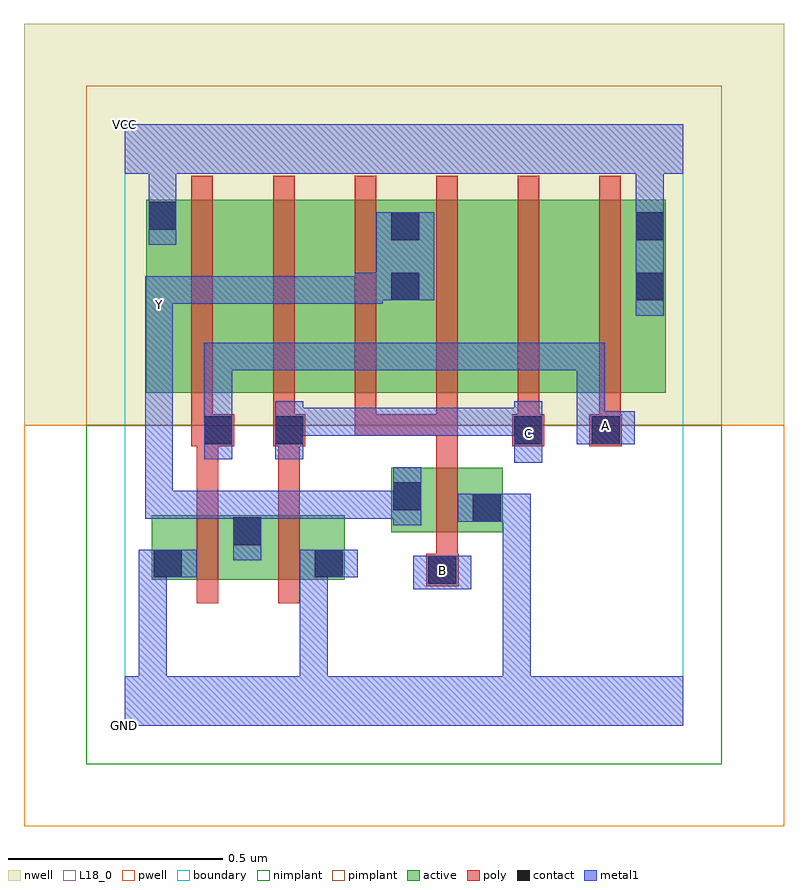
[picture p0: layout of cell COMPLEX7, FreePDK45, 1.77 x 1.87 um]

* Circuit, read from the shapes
.subckt COMPLEX7 A B C GND VCC Y
M1 Y A GND VSUBS nfet w=0.15u l=0.05u
M2 GND C Y VSUBS nfet w=0.15u l=0.05u
M3 GND B Y VSUBS nfet w=0.15u l=0.05u
M4 n1 A VCC n2 pfet w=0.45u l=0.05u
M5 n3 C n1 n2 pfet w=0.45u l=0.05u
M6 Y B n3 n2 pfet w=0.45u l=0.05u
M7 n4 B Y n2 pfet w=0.45u l=0.05u
M8 n5 C n4 n2 pfet w=0.45u l=0.05u
M9 VCC A n5 n2 pfet w=0.45u l=0.05u
.ends

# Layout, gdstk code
import gdstk
lib = gdstk.Library(unit=1e-6, precision=1e-09)
def R(c, l, rs):  # rectangles x0, y0, x1, y1
    for r in rs: c.add(gdstk.rectangle(r[:2], r[2:], *l))
def A(c, l, x, y, w, h, nx, ny, dx, dy):  # array of equal rectangles
    R(c, l, [(x+i*dx, y+j*dy, x+i*dx+w, y+j*dy+h) for i in range(nx) for j in range(ny)])
active = (1, 0)
pwell = (2, 0)
nwell = (3, 0)
nimplant = (4, 0)
pimplant = (5, 0)
poly = (9, 0)
contact = (10, 0)
metal1 = (11, 0)
L18_0 = (18, 0)
boundary = (235, 0)

complex7 = lib.new_cell('COMPLEX7')
R(complex7, active, [(0.062,0.34,0.137,0.49), (0.062,0.34,0.322,0.49), (0.247,0.34,0.512,0.49), (0.437,0.34,0.512,0.49), (0.247,0.415,0.322,0.49), (0.62,0.45,0.88,0.6), (0.805,0.45,0.88,0.6), (0.62,0.495,0.695,0.6), (0.05,0.775,0.275,1.225), (0.05,0.775,0.125,1.225), (0.275,0.775,0.465,1.225), (0.465,0.775,0.69,1.225), (0.615,0.775,0.845,1.225), (0.845,0.775,1.035,1.225), (1.035,0.775,1.26,1.225), (1.185,0.775,1.26,1.205), (0.615,0.857,0.69,1.2)])
R(complex7, pwell, [(-0.235,-0.235,1.535,0.7)])
R(complex7, nwell, [(-0.235,0.7,1.535,1.635)])
R(complex7, nimplant, [(-0.09,-0.09,1.39,0.7)])
R(complex7, pimplant, [(-0.09,0.7,1.39,1.49)])
A(complex7, poly, 0.155, 0.675, 0.05, 0.095, 6, 1, 0.19, 0)
A(complex7, poly, 0.155, 0.72, 0.05, 0.56, 6, 1, 0.19, 0)
R(complex7, poly, [(0.167,0.285,0.217,0.545), (0.357,0.285,0.407,0.545), (0.702,0.325,0.777,0.4), (0.725,0.35,0.775,0.445), (0.725,0.395,0.775,0.655), (0.167,0.495,0.217,0.7), (0.357,0.495,0.407,0.7), (0.725,0.605,0.775,0.725), (0.155,0.65,0.255,0.725), (0.345,0.65,0.42,0.725), (0.902,0.65,0.977,0.725), (1.082,0.65,1.157,0.725), (0.535,0.675,0.775,0.725), (0.535,0.675,0.585,0.725), (0.535,0.675,0.585,0.725), (0.535,0.675,0.585,0.725), (0.725,0.675,0.775,0.725)])
R(complex7, contact, [(0.707,0.33,0.772,0.395), (0.067,0.345,0.132,0.41), (0.442,0.345,0.507,0.41), (0.252,0.42,0.317,0.485), (0.81,0.475,0.875,0.54), (0.625,0.502,0.69,0.567), (0.185,0.655,0.25,0.72), (0.35,0.655,0.415,0.72), (0.907,0.655,0.972,0.72), (1.087,0.655,1.152,0.72), (0.62,0.99,0.685,1.055), (1.19,0.99,1.255,1.055), (0.62,1.13,0.685,1.195), (1.19,1.13,1.255,1.195), (0.055,1.155,0.12,1.22)])
R(complex7, metal1, [(0,0,1.3,0.115), (0.032,0.05,0.097,0.115), (0.032,0.05,0.097,0.115), (0.032,0.05,0.097,0.115), (0.032,0.05,0.097,0.115), (0.032,0.05,0.097,0.41), (0.407,0.05,0.472,0.115), (0.407,0.05,0.472,0.115), (0.407,0.05,0.472,0.115), (0.407,0.05,0.472,0.115), (0.407,0.05,0.472,0.41), (0.88,0.05,0.945,0.54), (0.672,0.317,0.807,0.395), (0.032,0.345,0.097,0.41), (0.032,0.345,0.097,0.41), (0.032,0.345,0.167,0.41), (0.407,0.345,0.472,0.41), (0.407,0.345,0.472,0.41), (0.407,0.345,0.542,0.41), (0.252,0.385,0.317,0.547), (0.625,0.467,0.69,0.602), (0.775,0.475,0.945,0.54), (0.88,0.475,0.945,0.54), (0.88,0.475,0.945,0.54), (0.88,0.475,0.945,0.54), (0.88,0.475,0.945,0.54), (0.88,0.475,0.945,0.54), (0.88,0.475,0.945,0.54), (0.047,0.482,0.112,0.547), (0.047,0.482,0.112,0.547), (0.047,0.482,0.112,0.547), (0.047,0.482,0.317,0.547), (0.047,0.482,0.112,0.977), (0.252,0.482,0.462,0.547), (0.397,0.482,0.462,0.547), (0.397,0.482,0.462,0.547), (0.397,0.482,0.462,0.547), (0.397,0.482,0.6,0.547), (0.535,0.482,0.6,0.547), (0.535,0.482,0.69,0.547), (0.907,0.612,0.972,0.755), (0.185,0.62,0.25,0.755), (0.35,0.62,0.415,0.755), (1.052,0.655,1.187,0.732), (1.052,0.667,1.117,0.732), (1.052,0.667,1.117,0.732), (1.052,0.667,1.117,0.892), (0.35,0.675,0.455,0.74), (0.39,0.675,0.455,0.74), (0.39,0.675,0.6,0.74), (0.535,0.675,0.6,0.74), (0.535,0.675,0.6,0.74), (0.535,0.675,0.6,0.74), (0.535,0.675,0.807,0.74), (0.742,0.675,0.807,0.74), (0.742,0.675,0.972,0.74), (0.907,0.675,0.972,0.74), (0.907,0.675,0.972,0.74), (0.185,0.69,0.25,0.755), (0.185,0.69,0.25,0.755), (0.185,0.69,0.25,0.892), (0.185,0.827,0.25,0.892), (0.185,0.827,0.455,0.892), (0.39,0.827,0.455,0.892), (0.39,0.827,0.455,0.892), (0.39,0.827,0.455,0.892), (0.39,0.827,0.6,0.892), (0.535,0.827,0.6,0.892), (0.535,0.827,0.6,0.892), (0.535,0.827,0.6,0.892), (0.535,0.827,0.807,0.892), (0.742,0.827,0.807,0.892), (0.742,0.827,0.945,0.892), (0.88,0.827,0.945,0.892), (0.88,0.827,0.945,0.892), (0.88,0.827,0.945,0.892), (0.88,0.827,1.117,0.892), (1.052,0.827,1.117,0.892), (0.047,0.912,0.112,1.047), (1.19,0.955,1.255,1.23), (0.047,0.982,0.112,1.047), (0.047,0.982,0.112,1.047), (0.047,0.982,0.112,1.047), (0.047,0.982,0.112,1.047), (0.047,0.982,0.112,1.047), (0.047,0.982,0.112,1.047), (0.047,0.982,0.317,1.047), (0.252,0.982,0.317,1.047), (0.252,0.982,0.455,1.047), (0.39,0.982,0.455,1.047), (0.39,0.982,0.455,1.047), (0.39,0.982,0.455,1.047), (0.39,0.982,0.6,1.047), (0.535,0.982,0.6,1.055), (0.535,0.99,0.65,1.055), (0.585,0.99,0.72,1.195), (0.055,1.12,0.12,1.255), (1.19,1.165,1.255,1.35), (0.055,1.19,0.12,1.35), (0,1.285,1.3,1.4)])
R(complex7, L18_0, [(0,0,1.3,0.115), (0.032,0.05,0.097,0.115), (0.032,0.05,0.097,0.115), (0.032,0.05,0.097,0.115), (0.032,0.05,0.097,0.115), (0.032,0.05,0.097,0.41), (0.407,0.05,0.472,0.115), (0.407,0.05,0.472,0.115), (0.407,0.05,0.472,0.115), (0.407,0.05,0.472,0.115), (0.407,0.05,0.472,0.41), (0.88,0.05,0.945,0.54), (0.672,0.317,0.807,0.395), (0.707,0.327,0.772,0.392), (0.032,0.345,0.097,0.41), (0.032,0.345,0.097,0.41), (0.032,0.345,0.167,0.41), (0.407,0.345,0.472,0.41), (0.407,0.345,0.472,0.41), (0.407,0.345,0.542,0.41), (0.252,0.385,0.317,0.547), (0.625,0.467,0.69,0.602), (0.775,0.475,0.945,0.54), (0.88,0.475,0.945,0.54), (0.88,0.475,0.945,0.54), (0.88,0.475,0.945,0.54), (0.88,0.475,0.945,0.54), (0.88,0.475,0.945,0.54), (0.88,0.475,0.945,0.54), (0.047,0.482,0.112,0.547), (0.047,0.482,0.112,0.547), (0.047,0.482,0.112,0.547), (0.047,0.482,0.112,0.977), (0.047,0.482,0.317,0.547), (0.252,0.482,0.462,0.547), (0.397,0.482,0.462,0.547), (0.397,0.482,0.462,0.547), (0.397,0.482,0.462,0.547), (0.397,0.482,0.6,0.547), (0.535,0.482,0.6,0.547), (0.535,0.482,0.69,0.547), (0.907,0.612,0.972,0.755), (0.185,0.62,0.25,0.755), (0.35,0.62,0.415,0.755), (0.907,0.647,0.972,0.712), (1.052,0.655,1.187,0.732), (1.052,0.667,1.117,0.732), (1.052,0.667,1.117,0.732), (1.052,0.667,1.117,0.892), (1.087,0.667,1.152,0.732), (0.35,0.675,0.455,0.74), (0.39,0.675,0.455,0.74), (0.39,0.675,0.6,0.74), (0.535,0.675,0.6,0.74), (0.535,0.675,0.6,0.74), (0.535,0.675,0.6,0.74), (0.535,0.675,0.807,0.74), (0.742,0.675,0.807,0.74), (0.742,0.675,0.972,0.74), (0.907,0.675,0.972,0.74), (0.907,0.675,0.972,0.74), (0.185,0.69,0.25,0.755), (0.185,0.69,0.25,0.755), (0.185,0.69,0.25,0.892), (0.185,0.827,0.25,0.892), (0.185,0.827,0.455,0.892), (0.39,0.827,0.455,0.892), (0.39,0.827,0.455,0.892), (0.39,0.827,0.455,0.892), (0.39,0.827,0.6,0.892), (0.535,0.827,0.6,0.892), (0.535,0.827,0.6,0.892), (0.535,0.827,0.6,0.892), (0.535,0.827,0.807,0.892), (0.742,0.827,0.807,0.892), (0.742,0.827,0.945,0.892), (0.88,0.827,0.945,0.892), (0.88,0.827,0.945,0.892), (0.88,0.827,0.945,0.892), (0.88,0.827,1.117,0.892), (1.052,0.827,1.117,0.892), (0.047,0.912,0.112,1.047), (0.047,0.947,0.112,1.012), (1.19,0.955,1.255,1.23), (0.047,0.982,0.112,1.047), (0.047,0.982,0.112,1.047), (0.047,0.982,0.112,1.047), (0.047,0.982,0.112,1.047), (0.047,0.982,0.112,1.047), (0.047,0.982,0.112,1.047), (0.047,0.982,0.317,1.047), (0.252,0.982,0.317,1.047), (0.252,0.982,0.455,1.047), (0.39,0.982,0.455,1.047), (0.39,0.982,0.455,1.047), (0.39,0.982,0.455,1.047), (0.39,0.982,0.6,1.047), (0.535,0.982,0.6,1.055), (0.535,0.99,0.65,1.055), (0.585,0.99,0.72,1.195), (0.055,1.12,0.12,1.255), (1.19,1.165,1.255,1.35), (0.055,1.19,0.12,1.35), (0,1.285,1.3,1.4)])
R(complex7, boundary, [(0,0,1.3,1.4)])
complex7.add(gdstk.Label('A', (1.12,0.7), layer=11, texttype=0))
complex7.add(gdstk.Label('B', (0.74,0.36), layer=11, texttype=0))
complex7.add(gdstk.Label('C', (0.94,0.68), layer=11, texttype=0))
complex7.add(gdstk.Label('Y', (0.08,0.98), layer=11, texttype=0))
complex7.add(gdstk.Label('VCC', (0,1.4), layer=11, texttype=0))
complex7.add(gdstk.Label('GND', (0,0), layer=11, texttype=0))

lib.write_gds('COMPLEX7.gds')
